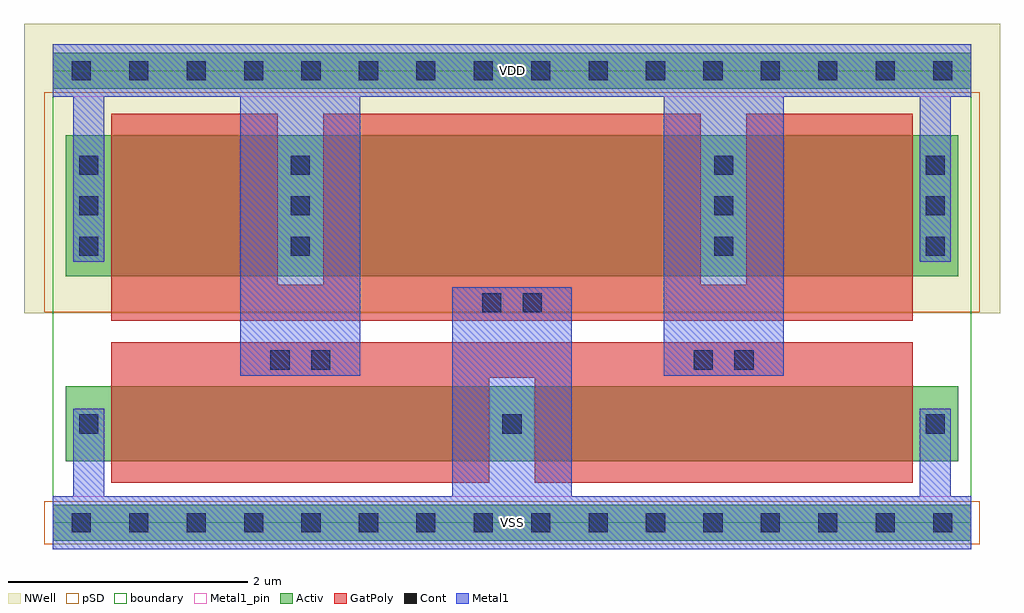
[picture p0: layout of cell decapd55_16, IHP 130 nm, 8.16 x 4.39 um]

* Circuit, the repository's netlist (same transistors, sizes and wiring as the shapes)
* decapd55_16, decap dense SG13CMOS5L, CDL pour le LVS KLayout
.SUBCKT decapd55_16 VDD VSS
*.PININFO VDD:B VSS:B
MN0 VSS VDD VSS VSS sg13_lv_nmos m=1 w=1.250u l=3.160u ng=2
MP0 VDD VSS VDD VDD sg13_lv_pmos m=1 w=1.180u l=3.160u ng=1
MP1 VDD VSS VDD VDD sg13_lv_pmos m=1 w=2.360u l=1.390u ng=2
.ENDS

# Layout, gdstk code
import gdstk
lib = gdstk.Library(unit=1e-6, precision=1e-09)
def R(c, l, rs):  # rectangles x0, y0, x1, y1
    for r in rs: c.add(gdstk.rectangle(r[:2], r[2:], *l))
def A(c, l, x, y, w, h, nx, ny, dx, dy):  # array of equal rectangles
    R(c, l, [(x+i*dx, y+j*dy, x+i*dx+w, y+j*dy+h) for i in range(nx) for j in range(ny)])
Activ = (1, 0)
GatPoly = (5, 0)
Cont = (6, 0)
Metal1 = (8, 0)
Metal1_pin = (8, 2)
pSD = (14, 0)
NWell = (31, 0)
boundary = (189, 4)

decapd55_16 = lib.new_cell('decapd55_16')
R(decapd55_16, Activ, [(0,-0.15,7.68,0.15), (0.11,0.515,7.57,1.14), (0.11,2.06,7.57,3.24), (0,3.63,7.68,3.93)])
R(decapd55_16, GatPoly, [(0.49,0.335,3.65,1.51), (4.03,0.335,7.19,1.51), (0.49,1.21,7.19,1.51), (0.49,1.69,7.19,1.99), (0.49,1.69,1.88,3.42), (2.26,1.69,5.42,3.42), (5.8,1.69,7.19,3.42)])
A(decapd55_16, Cont, 0.16, -0.08, 0.16, 0.16, 16, 2, 0.48, 3.78)
A(decapd55_16, Cont, 0.22, 0.745, 0.16, 0.16, 3, 1, 3.54, 0)
A(decapd55_16, Cont, 0.22, 2.23, 0.16, 0.16, 1, 3, 0, 0.34)
A(decapd55_16, Cont, 1.99, 2.23, 0.16, 0.16, 1, 3, 0, 0.34)
A(decapd55_16, Cont, 5.53, 2.23, 0.16, 0.16, 1, 3, 0, 0.34)
A(decapd55_16, Cont, 7.3, 2.23, 0.16, 0.16, 1, 3, 0, 0.34)
R(decapd55_16, Cont, [(1.82,1.28,1.98,1.44), (2.16,1.28,2.32,1.44), (5.36,1.28,5.52,1.44), (5.7,1.28,5.86,1.44), (3.59,1.76,3.75,1.92), (3.93,1.76,4.09,1.92)])
R(decapd55_16, Metal1, [(0,-0.22,7.68,0.22), (0.17,0,0.43,0.955), (3.34,0,4.34,1.97), (7.25,0,7.51,0.955), (1.57,1.23,2.57,3.78), (5.11,1.23,6.11,3.78), (0.17,2.18,0.43,3.78), (7.25,2.18,7.51,3.78), (0,3.56,7.68,4)])
R(decapd55_16, Metal1_pin, [(0,-0.22,7.68,0.22), (0,3.56,7.68,4)])
R(decapd55_16, pSD, [(-0.07,-0.18,7.75,0.18), (-0.07,1.76,7.75,3.6)])
R(decapd55_16, NWell, [(-0.24,1.75,7.92,4.17)])
R(decapd55_16, boundary, [(0,0,7.68,3.78)])
decapd55_16.add(gdstk.Label('VSS', (3.84,0), layer=8, texttype=25))
decapd55_16.add(gdstk.Label('VDD', (3.84,3.78), layer=8, texttype=25))

lib.write_gds('decapd55_16.gds')
